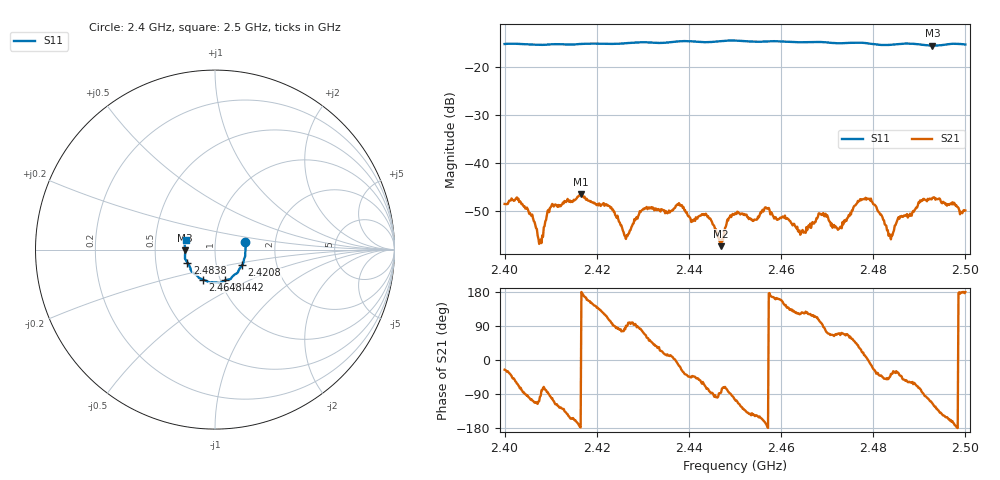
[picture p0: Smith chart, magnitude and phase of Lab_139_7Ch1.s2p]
# Hz S RI R 50
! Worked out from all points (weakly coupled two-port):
!   601 points, 2.4 GHz to 2.5 GHz, reference 50 ohm
!   highest |S21| = -46.56 dB at 2.4165 GHz (marker M1); lowest = -57.3 dB at 2.447 GHz (marker M2)
!   lowest |S11| = -15.6 dB at 2.4928 GHz (marker M3), VSWR 1.40, Z = 35.8 - j0.351 ohm
!   |S11| at or under -10 dB: start of sweep to end of sweep
!   S12 and S22 are empty: the file has one direction only
!   S11 on the Smith chart (normalised r, x): 2.4 GHz: 1.40, +0.12; 2.4208 GHz: 1.33, -0.24; 2.4442 GHz: 1.05, -0.37; 2.4648 GHz: 0.83, -0.29; 2.4838 GHz: 0.73, -0.11; 2.5 GHz: 0.72, +0.08
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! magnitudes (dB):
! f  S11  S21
! 2.4 GHz  -15.3  -48.6
! 2.403 GHz  -15.2  -47.5
! 2.4078 GHz  -15.4  -56.0
! 2.41 GHz  -15.3  -49.2
! 2.4165 GHz  -15.3  -46.6
! 2.4167 GHz  -15.2  -46.6
! 2.4208 GHz  -15.2  -49.0
! 2.4265 GHz  -15.1  -55.1
! 2.4298 GHz  -14.9  -49.8
! 2.4333 GHz  -15.0  -49.6
! 2.4442 GHz  -14.9  -51.1
! 2.447 GHz  -14.7  -57.3
! 2.45 GHz  -14.5  -50.5
! 2.457 GHz  -14.7  -49.5
! 2.4648 GHz  -14.9  -54.5
! 2.4667 GHz  -14.8  -52.8
! 2.4727 GHz  -15.1  -53.6
! 2.4787 GHz  -15.1  -47.4
! 2.4833 GHz  -15.5  -55.2
! 2.4838 GHz  -15.4  -55.9
! 2.4928 GHz  -15.6  -47.3
! 2.5 GHz  -15.3  -49.9
